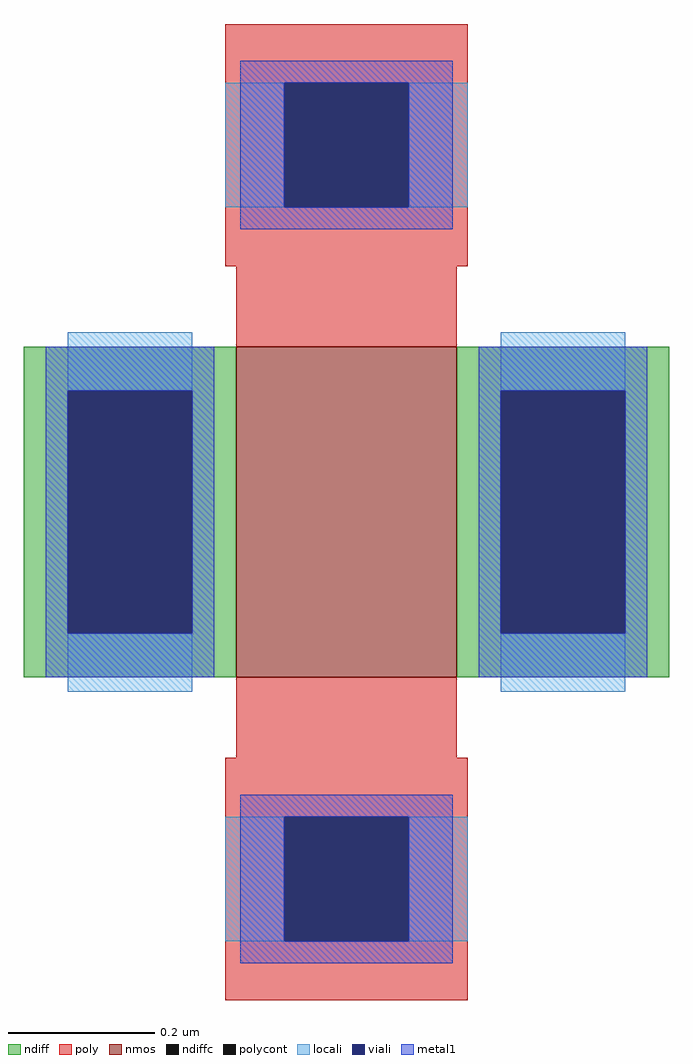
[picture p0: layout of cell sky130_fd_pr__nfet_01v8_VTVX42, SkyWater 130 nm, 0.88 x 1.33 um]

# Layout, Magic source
magic
tech sky130A
magscale 1 2
<< nmos >>
rect -30 -45 30 45
<< ndiff >>
rect -88 33 -30 45
rect -88 -33 -76 33
rect -42 -33 -30 33
rect -88 -45 -30 -33
rect 30 33 88 45
rect 30 -33 42 33
rect 76 -33 88 33
rect 30 -45 88 -33
<< ndiffc >>
rect -76 -33 -42 33
rect 42 -33 76 33
<< poly >>
rect -33 117 33 133
rect -33 83 -17 117
rect 17 83 33 117
rect -33 67 33 83
rect -30 45 30 67
rect -30 -67 30 -45
rect -33 -83 33 -67
rect -33 -117 -17 -83
rect 17 -117 33 -83
rect -33 -133 33 -117
<< polycont >>
rect -17 83 17 117
rect -17 -117 17 -83
<< locali >>
rect -33 83 -17 117
rect 17 83 33 117
rect -76 33 -42 49
rect -76 -49 -42 -33
rect 42 33 76 49
rect 42 -49 76 -33
rect -33 -117 -17 -83
rect 17 -117 33 -83
<< viali >>
rect -17 83 17 117
rect -76 -33 -42 33
rect 42 -33 76 33
rect -17 -117 17 -83
<< metal1 >>
rect -29 117 29 123
rect -29 83 -17 117
rect 17 83 29 117
rect -29 77 29 83
rect -82 33 -36 45
rect -82 -33 -76 33
rect -42 -33 -36 33
rect -82 -45 -36 -33
rect 36 33 82 45
rect 36 -33 42 33
rect 76 -33 82 33
rect 36 -45 82 -33
rect -29 -83 29 -77
rect -29 -117 -17 -83
rect 17 -117 29 -83
rect -29 -123 29 -117
<< properties >>
string gencell sky130_fd_pr__nfet_01v8
string library sky130
string parameters w 0.450 l 0.300 m 1 nf 1 diffcov 100 polycov 100 guard 0 glc 0 grc 0 gtc 0 gbc 1 tbcov 100 rlcov 100 topc 1 botc 1 poverlap 0 doverlap 1 lmin 0.15 wmin 0.42 compatible {sky130_fd_pr__nfet_01v8 sky130_fd_pr__nfet_01v8_lvt  sky130_fd_bs_flash__special_sonosfet_star  sky130_fd_pr__nfet_g5v0d10v5 sky130_fd_pr__nfet_05v0_nvt  sky130_fd_pr__nfet_03v3_nvt} full_metal 0 viasrc 100 viadrn 100 viagate 100 viagb 0 viagr 0 viagl 0 viagt 0
<< end >>
